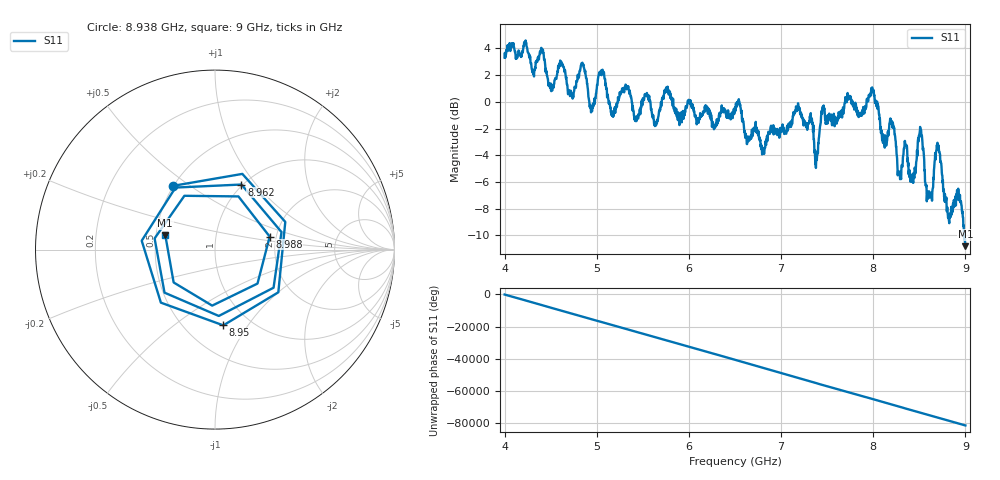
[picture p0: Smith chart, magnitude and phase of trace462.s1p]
! Created with skrf 1.8.0 (http://scikit-rf.org).
# Hz S RI R 50.0
!freq ReS11 ImS11
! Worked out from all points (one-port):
!   1601 points, 4 GHz to 9 GHz, reference 50 ohm
!   lowest |S11| = -10.8 dB at 9 GHz (marker M1), VSWR 1.81, Z = 28 + j4.91 ohm
!   |S11| at or under -10 dB: 8.986838 GHz to end of sweep
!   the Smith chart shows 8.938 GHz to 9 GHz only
!   S11 on the Smith chart (normalised r, x): 8.938 GHz: 0.49, +0.43; 8.95 GHz: 0.75, -0.78; 8.962 GHz: 0.99, +0.84; 8.988 GHz: 1.85, +0.30; 9 GHz: 0.56, +0.10
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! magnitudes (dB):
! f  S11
! 4 GHz  3.3
! 4.625 GHz  2.7
! 4.85 GHz  2.8
! 4.944 GHz  -0.4
! 5.044 GHz  2.1
! 5.25 GHz  0.7
! 5.875 GHz  -1.1
! 6.5 GHz  -0.4
! 6.803 GHz  -3.7
! 7.125 GHz  -1.3
! 7.384 GHz  -3.8
! 7.45 GHz  -0.4
! 7.75 GHz  0.3
! 7.991 GHz  0.9
! 8.119 GHz  -3.0
! 8.209 GHz  -1.9
! 8.284 GHz  -5.3
! 8.375 GHz  -4.2
! 8.438 GHz  -5.3
! 8.509 GHz  -1.9
! 8.606 GHz  -6.7
! 8.697 GHz  -3.1
! 8.819 GHz  -8.8
! 8.938 GHz  -7.4
! 8.95 GHz  -7.4
! 8.962 GHz  -8.1
! 8.988 GHz  -10.1
! 9 GHz  -10.8
